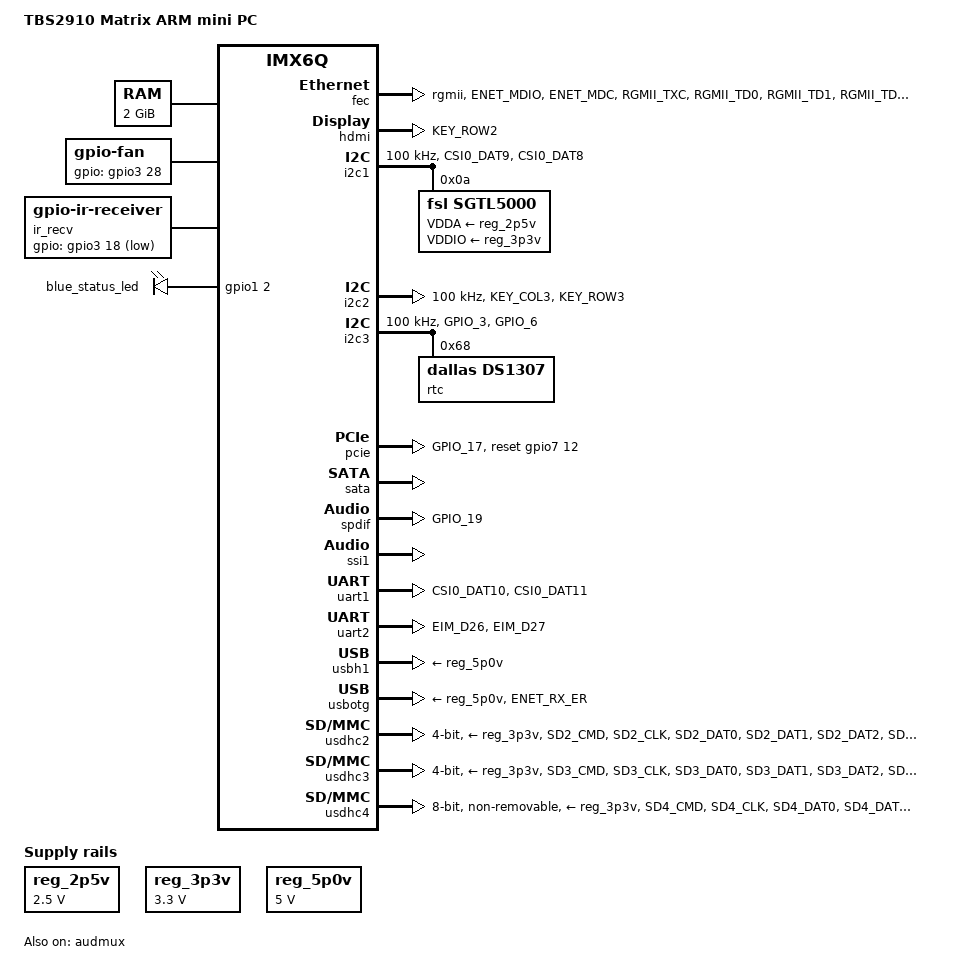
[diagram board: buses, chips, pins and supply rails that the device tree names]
/*
 * Copyright 2014 Soeren Moch <smoch@web.de>
 *
 * This file is dual-licensed: you can use it either under the terms
 * of the GPL or the X11 license, at your option. Note that this dual
 * licensing only applies to this file, and not this project as a
 * whole.
 *
 *  a) This file is free software; you can redistribute it and/or
 *     modify it under the terms of the GNU General Public License as
 *     published by the Free Software Foundation; either version 2 of
 *     the License, or (at your option) any later version.
 *
 *     This file is distributed in the hope that it will be useful,
 *     but WITHOUT ANY WARRANTY; without even the implied warranty of
 *     MERCHANTABILITY or FITNESS FOR A PARTICULAR PURPOSE.  See the
 *     GNU General Public License for more details.
 *
 *     You should have received a copy of the GNU General Public
 *     License along with this file; if not, write to the Free
 *     Software Foundation, Inc., 51 Franklin St, Fifth Floor, Boston,
 *     MA 02110-1301 USA
 *
 * Or, alternatively,
 *
 *  b) Permission is hereby granted, free of charge, to any person
 *     obtaining a copy of this software and associated documentation
 *     files (the "Software"), to deal in the Software without
 *     restriction, including without limitation the rights to use,
 *     copy, modify, merge, publish, distribute, sublicense, and/or
 *     sell copies of the Software, and to permit persons to whom the
 *     Software is furnished to do so, subject to the following
 *     conditions:
 *
 *     The above copyright notice and this permission notice shall be
 *     included in all copies or substantial portions of the Software.
 *
 *     THE SOFTWARE IS PROVIDED "AS IS", WITHOUT WARRANTY OF ANY KIND,
 *     EXPRESS OR IMPLIED, INCLUDING BUT NOT LIMITED TO THE WARRANTIES
 *     OF MERCHANTABILITY, FITNESS FOR A PARTICULAR PURPOSE AND
 *     NONINFRINGEMENT. IN NO EVENT SHALL THE AUTHORS OR COPYRIGHT
 *     HOLDERS BE LIABLE FOR ANY CLAIM, DAMAGES OR OTHER LIABILITY,
 *     WHETHER IN AN ACTION OF CONTRACT, TORT OR OTHERWISE, ARISING
 *     FROM, OUT OF OR IN CONNECTION WITH THE SOFTWARE OR THE USE OR
 *     OTHER DEALINGS IN THE SOFTWARE.
 */

/dts-v1/;

#include "imx6q.dtsi"
#include <dt-bindings/gpio/gpio.h>
#include <dt-bindings/input/input.h>

/ {
	model = "TBS2910 Matrix ARM mini PC";
	compatible = "tbs,imx6q-tbs2910", "fsl,imx6q";

	chosen {
		stdout-path = &uart1;
	};

	memory {
		reg = <0x10000000 0x80000000>;
	};

	fan {
		compatible = "gpio-fan";
		pinctrl-names = "default";
		pinctrl-0 = <&pinctrl_gpio_fan>;
		gpios = <&gpio3 28 GPIO_ACTIVE_HIGH>;
		gpio-fan,speed-map = <0    0
				      3000 1>;
	};

	ir_recv {
		compatible = "gpio-ir-receiver";
		gpios = <&gpio3 18 GPIO_ACTIVE_LOW>;
		pinctrl-names = "default";
		pinctrl-0 = <&pinctrl_ir>;
	};

	leds {
		compatible = "gpio-leds";
		pinctrl-names = "default";
		pinctrl-0 = <&pinctrl_gpio_leds>;

		blue {
			label = "blue_status_led";
			gpios = <&gpio1 2 GPIO_ACTIVE_HIGH>;
			default-state = "keep";
		};
	};

	reg_2p5v: regulator-2p5v {
		compatible = "regulator-fixed";
		regulator-name = "2P5V";
		regulator-min-microvolt = <2500000>;
		regulator-max-microvolt = <2500000>;
	};

	reg_3p3v: regulator-3p3v {
		compatible = "regulator-fixed";
		regulator-name = "3P3V";
		regulator-min-microvolt = <3300000>;
		regulator-max-microvolt = <3300000>;
	};

	reg_5p0v: regulator-5p0v {
		compatible = "regulator-fixed";
		regulator-name = "5P0V";
		regulator-min-microvolt = <5000000>;
		regulator-max-microvolt = <5000000>;
	};

	sound-sgtl5000 {
		audio-codec = <&sgtl5000>;
		audio-routing =
			"MIC_IN", "Mic Jack",
			"Mic Jack", "Mic Bias",
			"Headphone Jack", "HP_OUT";
		compatible = "fsl,imx-audio-sgtl5000";
		model = "On-board Codec";
		mux-ext-port = <3>;
		mux-int-port = <1>;
		ssi-controller = <&ssi1>;
	};

	sound-spdif {
		compatible = "fsl,imx-audio-spdif";
		model = "On-board SPDIF";
		spdif-controller = <&spdif>;
		spdif-out;
	};
};

&audmux {
	status = "okay";
};

&fec {
	pinctrl-names = "default";
	pinctrl-0 = <&pinctrl_enet>;
	phy-mode = "rgmii";
	phy-reset-gpios = <&gpio1 25 GPIO_ACTIVE_LOW>;
	status = "okay";
};

&hdmi {
	pinctrl-names = "default";
	pinctrl-0 = <&pinctrl_hdmi>;
	ddc-i2c-bus = <&i2c2>;
	status = "okay";
};

&i2c1 {
	clock-frequency = <100000>;
	pinctrl-names = "default";
	pinctrl-0 = <&pinctrl_i2c1>;
	status = "okay";

	sgtl5000: sgtl5000@0a {
		clocks = <&clks IMX6QDL_CLK_CKO>;
		compatible = "fsl,sgtl5000";
		pinctrl-names = "default";
		pinctrl-0 = <&pinctrl_sgtl5000>;
		reg = <0x0a>;
		VDDA-supply = <&reg_2p5v>;
		VDDIO-supply = <&reg_3p3v>;
	};
};

&i2c2 {
	clock-frequency = <100000>;
	pinctrl-names = "default";
	pinctrl-0 = <&pinctrl_i2c2>;
	status = "okay";
};

&i2c3 {
	clock-frequency = <100000>;
	pinctrl-names = "default";
	pinctrl-0 = <&pinctrl_i2c3>;
	status = "okay";

	rtc: ds1307@68 {
		compatible = "dallas,ds1307";
		reg = <0x68>;
	};
};

&pcie {
	pinctrl-names = "default";
	pinctrl-0 = <&pinctrl_pcie>;
	reset-gpio = <&gpio7 12 GPIO_ACTIVE_HIGH>;
	status = "okay";
};

&sata {
	fsl,transmit-level-mV = <1104>;
	fsl,transmit-boost-mdB = <3330>;
	fsl,transmit-atten-16ths = <16>;
	fsl,receive-eq-mdB = <3000>;
	status = "okay";
};

&snvs_poweroff {
	status = "okay";
};

&spdif {
	pinctrl-names = "default";
	pinctrl-0 = <&pinctrl_spdif>;
	status = "okay";
};

&ssi1 {
	status = "okay";
};

&uart1 {
	pinctrl-names = "default";
	pinctrl-0 = <&pinctrl_uart1>;
	status = "okay";
};

&uart2 {
	pinctrl-names = "default";
	pinctrl-0 = <&pinctrl_uart2>;
	status = "okay";
};

&usbh1 {
	vbus-supply = <&reg_5p0v>;
	status = "okay";
};

&usbotg {
	vbus-supply = <&reg_5p0v>;
	pinctrl-names = "default";
	pinctrl-0 = <&pinctrl_usbotg>;
	disable-over-current;
	status = "okay";
};

&usdhc2 {
	pinctrl-names = "default";
	pinctrl-0 = <&pinctrl_usdhc2>;
	bus-width = <4>;
	cd-gpios = <&gpio2 2 GPIO_ACTIVE_LOW>;
	vmmc-supply = <&reg_3p3v>;
	vqmmc-supply = <&reg_3p3v>;
	voltage-ranges = <3300 3300>;
	no-1-8-v;
	status = "okay";
};

&usdhc3 {
	pinctrl-names = "default";
	pinctrl-0 = <&pinctrl_usdhc3>;
	bus-width = <4>;
	cd-gpios = <&gpio2 0 GPIO_ACTIVE_LOW>;
	wp-gpios = <&gpio2 1 GPIO_ACTIVE_HIGH>;
	vmmc-supply = <&reg_3p3v>;
	vqmmc-supply = <&reg_3p3v>;
	voltage-ranges = <3300 3300>;
	no-1-8-v;
	status = "okay";
};

&usdhc4 {
	pinctrl-names = "default";
	pinctrl-0 = <&pinctrl_usdhc4>;
	bus-width = <8>;
	vmmc-supply = <&reg_3p3v>;
	vqmmc-supply = <&reg_3p3v>;
	voltage-ranges = <3300 3300>;
	non-removable;
	no-1-8-v;
	status = "okay";
};

&iomuxc {
	pinctrl_enet: enetgrp {
		fsl,pins = <
			MX6QDL_PAD_ENET_MDIO__ENET_MDIO       0x1b0b0
			MX6QDL_PAD_ENET_MDC__ENET_MDC         0x1b0b0
			MX6QDL_PAD_RGMII_TXC__RGMII_TXC       0x1b0b0
			MX6QDL_PAD_RGMII_TD0__RGMII_TD0       0x1b0b0
			MX6QDL_PAD_RGMII_TD1__RGMII_TD1       0x1b0b0
			MX6QDL_PAD_RGMII_TD2__RGMII_TD2       0x1b0b0
			MX6QDL_PAD_RGMII_TD3__RGMII_TD3       0x1b0b0
			MX6QDL_PAD_RGMII_TX_CTL__RGMII_TX_CTL 0x1b0b0
			MX6QDL_PAD_ENET_REF_CLK__ENET_TX_CLK  0x1b0b0
			MX6QDL_PAD_RGMII_RXC__RGMII_RXC       0x1b0b0
			MX6QDL_PAD_RGMII_RD0__RGMII_RD0       0x1b0b0
			MX6QDL_PAD_RGMII_RD1__RGMII_RD1       0x1b0b0
			MX6QDL_PAD_RGMII_RD2__RGMII_RD2       0x1b0b0
			MX6QDL_PAD_RGMII_RD3__RGMII_RD3       0x1b0b0
			MX6QDL_PAD_RGMII_RX_CTL__RGMII_RX_CTL 0x1b0b0
			MX6QDL_PAD_GPIO_16__ENET_REF_CLK      0x4001b0a8
			MX6QDL_PAD_ENET_CRS_DV__GPIO1_IO25    0x1b059
		>;
	};

	pinctrl_gpio_fan: gpiofangrp {
		fsl,pins = <
			MX6QDL_PAD_EIM_D28__GPIO3_IO28        0x130b1
		>;
	};

	pinctrl_gpio_leds: gpioledsgrp {
		fsl,pins = <
			MX6QDL_PAD_GPIO_2__GPIO1_IO02         0x130b1
		>;
	};

	pinctrl_hdmi: hdmigrp {
		fsl,pins = <
			MX6QDL_PAD_KEY_ROW2__HDMI_TX_CEC_LINE 0x1f8b0
		>;
	};

	pinctrl_i2c1: i2c1grp {
		fsl,pins = <
			MX6QDL_PAD_CSI0_DAT9__I2C1_SCL        0x4001b8b1
			MX6QDL_PAD_CSI0_DAT8__I2C1_SDA        0x4001b8b1
		>;
	};

	pinctrl_i2c2: i2c2grp {
		fsl,pins = <
			MX6QDL_PAD_KEY_COL3__I2C2_SCL         0x4001b8b1
			MX6QDL_PAD_KEY_ROW3__I2C2_SDA         0x4001b8b1
		>;
	};

	pinctrl_i2c3: i2c3grp {
		fsl,pins = <
			MX6QDL_PAD_GPIO_3__I2C3_SCL           0x4001b8b1
			MX6QDL_PAD_GPIO_6__I2C3_SDA           0x4001b8b1
		>;
	};

	pinctrl_ir: irgrp {
		fsl,pins = <
			MX6QDL_PAD_EIM_D18__GPIO3_IO18        0x17059
		>;
	};

	pinctrl_pcie: pciegrp {
		fsl,pins = <
			MX6QDL_PAD_GPIO_17__GPIO7_IO12        0x17059
		>;
	};

	pinctrl_sgtl5000: sgtl5000grp {
		fsl,pins = <
			MX6QDL_PAD_CSI0_DAT7__AUD3_RXD        0x130b0
			MX6QDL_PAD_CSI0_DAT4__AUD3_TXC        0x130b0
			MX6QDL_PAD_CSI0_DAT5__AUD3_TXD        0x110b0
			MX6QDL_PAD_CSI0_DAT6__AUD3_TXFS       0x130b0
			MX6QDL_PAD_GPIO_0__CCM_CLKO1          0x130b0
		>;
	};

	pinctrl_spdif: spdifgrp {
		fsl,pins = <MX6QDL_PAD_GPIO_19__SPDIF_OUT     0x13091
		>;
	};

	pinctrl_uart1: uart1grp {
		fsl,pins = <
			MX6QDL_PAD_CSI0_DAT10__UART1_TX_DATA  0x1b0b1
			MX6QDL_PAD_CSI0_DAT11__UART1_RX_DATA  0x1b0b1
		>;
	};

	pinctrl_uart2: uart2grp {
		fsl,pins = <
			MX6QDL_PAD_EIM_D26__UART2_TX_DATA     0x1b0b1
			MX6QDL_PAD_EIM_D27__UART2_RX_DATA     0x1b0b1
		>;
	};

	pinctrl_usbotg: usbotggrp {
		fsl,pins = <
			MX6QDL_PAD_ENET_RX_ER__USB_OTG_ID     0x17059
		>;
	};

	pinctrl_usdhc2: usdhc2grp {
		fsl,pins = <
			MX6QDL_PAD_SD2_CMD__SD2_CMD           0x17059
			MX6QDL_PAD_SD2_CLK__SD2_CLK           0x10059
			MX6QDL_PAD_SD2_DAT0__SD2_DATA0        0x17059
			MX6QDL_PAD_SD2_DAT1__SD2_DATA1        0x17059
			MX6QDL_PAD_SD2_DAT2__SD2_DATA2        0x17059
			MX6QDL_PAD_SD2_DAT3__SD2_DATA3        0x17059
			MX6QDL_PAD_NANDF_D2__GPIO2_IO02       0x17059
		>;
	};

	pinctrl_usdhc3: usdhc3grp {
		fsl,pins = <
			MX6QDL_PAD_SD3_CMD__SD3_CMD           0x17059
			MX6QDL_PAD_SD3_CLK__SD3_CLK           0x10059
			MX6QDL_PAD_SD3_DAT0__SD3_DATA0        0x17059
			MX6QDL_PAD_SD3_DAT1__SD3_DATA1        0x17059
			MX6QDL_PAD_SD3_DAT2__SD3_DATA2        0x17059
			MX6QDL_PAD_SD3_DAT3__SD3_DATA3        0x17059
			MX6QDL_PAD_NANDF_D0__GPIO2_IO00       0x17059
			MX6QDL_PAD_NANDF_D1__GPIO2_IO01       0x17059
		>;
	};

	pinctrl_usdhc4: usdhc4grp {
		fsl,pins = <
			MX6QDL_PAD_SD4_CMD__SD4_CMD           0x17059
			MX6QDL_PAD_SD4_CLK__SD4_CLK           0x10059
			MX6QDL_PAD_SD4_DAT0__SD4_DATA0        0x17059
			MX6QDL_PAD_SD4_DAT1__SD4_DATA1        0x17059
			MX6QDL_PAD_SD4_DAT2__SD4_DATA2        0x17059
			MX6QDL_PAD_SD4_DAT3__SD4_DATA3        0x17059
			MX6QDL_PAD_SD4_DAT4__SD4_DATA4        0x17059
			MX6QDL_PAD_SD4_DAT5__SD4_DATA5        0x17059
			MX6QDL_PAD_SD4_DAT6__SD4_DATA6        0x17059
			MX6QDL_PAD_SD4_DAT7__SD4_DATA7        0x17059
		>;
	};
};
